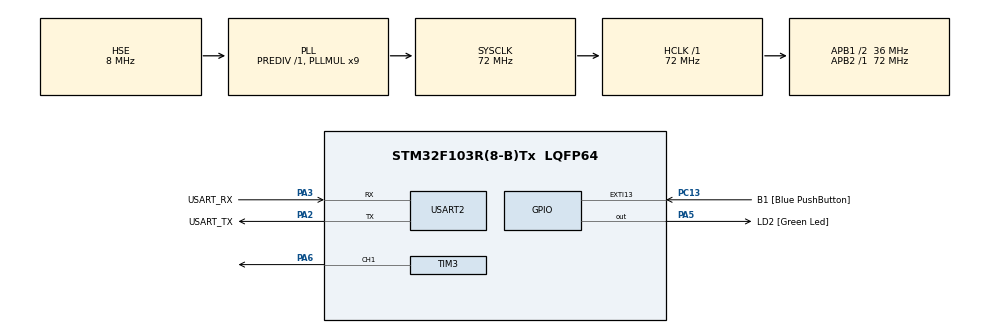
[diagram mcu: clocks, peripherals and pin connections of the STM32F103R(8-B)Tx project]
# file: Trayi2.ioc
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Dma.Request0=TIM3_CH1/TRIG
Dma.TIM3_CH1/TRIG.0.Direction=DMA_MEMORY_TO_PERIPH
Dma.TIM3_CH1/TRIG.0.Instance=DMA1_Channel6
Dma.TIM3_CH1/TRIG.0.MemDataAlignment=DMA_MDATAALIGN_BYTE
Dma.TIM3_CH1/TRIG.0.MemInc=DMA_MINC_ENABLE
Dma.TIM3_CH1/TRIG.0.Mode=DMA_NORMAL
Dma.TIM3_CH1/TRIG.0.PeriphDataAlignment=DMA_PDATAALIGN_HALFWORD
Dma.TIM3_CH1/TRIG.0.PeriphInc=DMA_PINC_DISABLE
Dma.TIM3_CH1/TRIG.0.Priority=DMA_PRIORITY_LOW
Mcu.Family=STM32F1
Mcu.Name=STM32F103R(8-B)Tx
Mcu.Package=LQFP64
NVIC.DMA1_Channel6_IRQn=true\:0\:0\:false\:false\:true\:false\:true
NVIC.EXTI15_10_IRQn=true\:0\:0\:false\:false\:true\:true\:true
NVIC.PriorityGroup=NVIC_PRIORITYGROUP_4
NVIC.TIM3_IRQn=true\:0\:0\:false\:false\:true\:true\:true
PA13.GPIO_Label=TMS
PA13.Mode=Serial_Wire
PA13.Signal=SYS_JTMS-SWDIO
PA14.GPIO_Label=TCK
PA14.Mode=Serial_Wire
PA14.Signal=SYS_JTCK-SWCLK
PA2.GPIO_Label=USART_TX
PA2.GPIO_Mode=GPIO_MODE_AF_PP
PA2.GPIO_PuPd=GPIO_NOPULL
PA2.GPIO_Speed=GPIO_SPEED_FREQ_LOW
PA2.Mode=Asynchronous
PA2.Signal=USART2_TX
PA3.GPIO_Label=USART_RX
PA3.GPIO_Mode=GPIO_MODE_AF_PP
PA3.GPIO_PuPd=GPIO_NOPULL
PA3.GPIO_Speed=GPIO_SPEED_FREQ_LOW
PA3.Mode=Asynchronous
PA3.Signal=USART2_RX
PA5.GPIO_Label=LD2 [Green Led]
PA5.GPIO_ModeDefaultOutputPP=GPIO_MODE_OUTPUT_PP
PA5.GPIO_PuPd=GPIO_NOPULL
PA5.GPIO_Speed=GPIO_SPEED_FREQ_LOW
PA5.Signal=GPIO_Output
PA6.Signal=S_TIM3_CH1
PB3.GPIO_Label=SWO
PB3.Signal=SYS_JTDO-TRACESWO
PC13-TAMPER-RTC.GPIO_Label=B1 [Blue PushButton]
PC13-TAMPER-RTC.GPIO_PuPd=GPIO_NOPULL
PC13-TAMPER-RTC.Signal=GPXTI13
PC14-OSC32_IN.Mode=LSE-External-Oscillator
PC14-OSC32_IN.Signal=RCC_OSC32_IN
PC15-OSC32_OUT.Mode=LSE-External-Oscillator
PC15-OSC32_OUT.Signal=RCC_OSC32_OUT
PD0-OSC_IN.Mode=HSE-External-Clock-Source
PD0-OSC_IN.Signal=RCC_OSC_IN
PD1-OSC_OUT.Mode=HSE-External-Clock-Source
PD1-OSC_OUT.Signal=RCC_OSC_OUT
ProjectManager.HeapSize=0x200
ProjectManager.StackSize=0x400
ProjectManager.TargetToolchain=STM32CubeIDE
RCC.AHBFreq_Value=72000000
RCC.APB1CLKDivider=RCC_HCLK_DIV2
RCC.APB1Freq_Value=36000000
RCC.APB1TimFreq_Value=72000000
RCC.APB2Freq_Value=72000000
RCC.APB2TimFreq_Value=72000000
RCC.HCLKFreq_Value=72000000
RCC.PLLMUL=RCC_PLL_MUL9
RCC.PLLSourceVirtual=RCC_PLLSOURCE_HSE
RCC.RTCClockSelection=RCC_RTCCLKSOURCE_LSE
RCC.SYSCLKFreq_VALUE=72000000
RCC.SYSCLKSource=RCC_SYSCLKSOURCE_PLLCLK
RCC.USBFreq_Value=72000000
SH.S_TIM3_CH1.0=TIM3_CH1,PWM Generation1 CH1
TIM3.Channel-PWM\ Generation1\ CH1=TIM_CHANNEL_1
TIM3.OCFastMode_PWM-PWM\ Generation1\ CH1=TIM_OCFAST_DISABLE
TIM3.OCMode_PWM-PWM\ Generation1\ CH1=TIM_OCMODE_PWM1
TIM3.Period=90-1
USART2.VirtualMode=VM_ASYNC
board=NUCLEO-F103RB

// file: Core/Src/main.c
/* USER CODE BEGIN Header */
/**
 ******************************************************************************
 * @file           : main.c
 * @brief          : Main program body
 ******************************************************************************
 * @attention
 *
 * Copyright (c) 2022 STMicroelectronics.
 * All rights reserved.
 *
 * This software is licensed under terms that can be found in the LICENSE file
 * in the root directory of this software component.
 * If no LICENSE file comes with this software, it is provided AS-IS.
 *
 ******************************************************************************
 */
/* USER CODE END Header */
#include "main.h"

/* USER CODE BEGIN Includes */
#include <math.h>
/* USER CODE END Includes */

/* USER CODE BEGIN PM */
#define MAX_LED     16

#define MAX_COLOR   255
#define MIN_COLOR   10

#define MAX_BRIGHTNESS 45
#define MIN_BRIGHTNESS 5

#define USE_BRIGHTNESS 1
/* USER CODE END PM */

TIM_HandleTypeDef htim3;
DMA_HandleTypeDef hdma_tim3_ch1_trig;

UART_HandleTypeDef huart2;

/* USER CODE BEGIN PV */
uint8_t LED_Data[MAX_LED][4];
uint8_t LED_Mod[MAX_LED][4];
uint8_t LED_Is_Brightness[MAX_LED];

uint8_t LED_PWM_Data[MAX_LED * 24 + 40];
uint8_t LED_sending;

enum MODES {
	STATIC = 0, DRAGON_BREATH, RAINBOW,
};
/* USER CODE END PV */

void SystemClock_Config(void);
static void MX_GPIO_Init(void);
static void MX_USART2_UART_Init(void);
static void MX_DMA_Init(void);
static void MX_TIM3_Init(void);

/* USER CODE BEGIN 0 */

typedef struct {
	uint8_t red;
	uint8_t green;
	uint8_t blue;
} Color;

void HAL_TIM_PWM_PulseFinishedCallback(TIM_HandleTypeDef *htim) {
	HAL_TIM_PWM_Stop_DMA(&htim3, TIM_CHANNEL_1);
	LED_sending = 0;
}

void LED_set(uint32_t LED_number, Color *color) {
	LED_Is_Brightness[LED_number] = 0;
	LED_Data[LED_number][0] = LED_number;
	LED_Data[LED_number][1] = color->green;
	LED_Data[LED_number][2] = color->red;
	LED_Data[LED_number][3] = color->blue;
}

void LED_set_brightness(uint32_t LED_number, uint8_t brightness) {
	if (brightness > 45) {
		brightness = 45;
	}

	if (LED_number < 0 || LED_number >= MAX_LED) {
		return;
	}

	LED_Is_Brightness[LED_number] = 1;
	LED_Mod[LED_number][0] = LED_Data[LED_number][0];
	for (int j = 1; j < 4; j++) {
		float angle = 90 - brightness;
		angle = angle * M_PI / 180;
		LED_Mod[LED_number][j] = (LED_Data[LED_number][j]) / (tan(angle));
	}
}

void LED_send(void) {
	while (LED_sending)
		;

	LED_sending = 1;
	memset(LED_PWM_Data, 0, 24 * MAX_LED + 40);

	uint32_t idx = 0;

	for (int i = 0; i < MAX_LED; ++i) {
		uint32_t color;
		if (LED_Is_Brightness[i]) {
			color = ((LED_Mod[i][1] << 16) | (LED_Mod[i][2] << 8)
					| (LED_Mod[i][3]));
		} else {
			color = ((LED_Data[i][1] << 16) | (LED_Data[i][2] << 8)
					| (LED_Data[i][3]));
		}

		for (int j = 23; j >= 0; --j) {
			if (color & (1 << j)) {
				LED_PWM_Data[idx] = 0.66 * TIM3->ARR;
			} else {
				LED_PWM_Data[idx] = 0.33 * TIM3->ARR;
				;
			}
			idx++;
		}
	}

	HAL_TIM_PWM_Start_DMA(&htim3, TIM_CHANNEL_1, (uint32_t*) LED_PWM_Data,
			24 * MAX_LED + 40);
}

/*
 * Static mode
 */
void static_mode(Color *color) {
	for (uint32_t i = 0; i < MAX_LED; ++i) {
		LED_set(i, color);
	}
	LED_send();
}

/*
 * Dragon breath mode
 */
void dragon_breath_mode(Color *color) {
	for (uint32_t i = 0; i < MAX_LED; ++i) {
		LED_set(i, color);
	}

	for (int8_t i = MIN_BRIGHTNESS; i <= MAX_BRIGHTNESS; ++i) {
		for (uint32_t j = 0; j < MAX_LED; ++j) {
			LED_set_brightness(j, i);
		}
		LED_send();
		HAL_Delay(20);
	}

	for (int8_t i = MAX_BRIGHTNESS; i >= MIN_BRIGHTNESS; --i) {
		for (uint32_t j = 0; j < MAX_LED; ++j) {
			LED_set_brightness(j, i);
		}
		LED_send();
		HAL_Delay(20);
	}
}

/*
 * Rainbow mode
 */
void rainbow_mode() {

}

void set_mode_cycle(uint8_t mode, Color *color) {
	switch (mode) {
	case STATIC:
		static_mode(color);
		break;
	case DRAGON_BREATH:
		dragon_breath_mode(color);
		break;
	case RAINBOW:
		rainbow_mode();
		break;
	}
}

/* USER CODE END 0 */

int main(void) {

	/* MCU Configuration--------------------------------------------------------*/

	/* Reset of all peripherals, Initializes the Flash interface and the Systick. */
	HAL_Init();

	/* Configure the system clock */
	SystemClock_Config();

	/* Initialize all configured peripherals */
	MX_GPIO_Init();
	MX_USART2_UART_Init();
	MX_DMA_Init();
	MX_TIM3_Init();
	/* USER CODE BEGIN 2 */

	Color c = { 255, 0, 255 };
	Color *c_p = &c;

	for (uint32_t i = 0; i < MAX_LED; ++i) {
		LED_Is_Brightness[i] = 0;
	}

	/* USER CODE END 2 */

	/* Infinite loop */
	/* USER CODE BEGIN WHILE */
	while (1) {
//		LED_set(0, 0, 0, 255);
//		LED_set(1, 0, 255, 0);
//		LED_set(2, 255, 0, 0);
//		LED_set(3, 75, 0, 130);
//		LED_set(4, 75, 0, 130);
//		LED_set(5, 0, 0, 128);
//		LED_set(6, 0, 139, 139);
//		LED_set(7, 238, 130, 238);
//		LED_set(8, 0, 0, 128);
//		LED_set(9, 0, 139, 139);
//		LED_set(10, 0, 255, 0);
//		LED_set(11, 210, 105, 30);
//		LED_set(12, 102, 205, 170);
//		LED_set(13, 255, 165, 255);
//		LED_set(14, 255, 165, 0);
//		LED_set(15, 210, 105, 30);

		set_mode_cycle(DRAGON_BREATH, c_p);
//		set_mode_cycle(STATIC, c_p);

//		for (int i = 0; i < 46; i++) {
//			LED_set_brightness(0, i);
//			LED_send();
//			WS2812_Send();
//			HAL_Delay(10);
//		}
//
//		for (int i = 45; i >= 0; i--) {
//			LED_set_brightness(0, i);
//			LED_send();
//			WS2812_Send();
//			HAL_Delay(10);
//		}
//		LED_send();
		/* USER CODE END WHILE */

	}
}

void SystemClock_Config(void) {
	RCC_OscInitTypeDef RCC_OscInitStruct = { 0 };
	RCC_ClkInitTypeDef RCC_ClkInitStruct = { 0 };

	/** Initializes the RCC Oscillators according to the specified parameters
	 * in the RCC_OscInitTypeDef structure.
	 */
	RCC_OscInitStruct.OscillatorType = RCC_OSCILLATORTYPE_HSE;
	RCC_OscInitStruct.HSEState = RCC_HSE_BYPASS;
	RCC_OscInitStruct.HSEPredivValue = RCC_HSE_PREDIV_DIV1;
	RCC_OscInitStruct.HSIState = RCC_HSI_ON;
	RCC_OscInitStruct.PLL.PLLState = RCC_PLL_ON;
	RCC_OscInitStruct.PLL.PLLSource = RCC_PLLSOURCE_HSE;
	RCC_OscInitStruct.PLL.PLLMUL = RCC_PLL_MUL9;
	if (HAL_RCC_OscConfig(&RCC_OscInitStruct) != HAL_OK) {
		Error_Handler();
	}
	/** Initializes the CPU, AHB and APB buses clocks
	 */
	RCC_ClkInitStruct.ClockType = RCC_CLOCKTYPE_HCLK | RCC_CLOCKTYPE_SYSCLK
			| RCC_CLOCKTYPE_PCLK1 | RCC_CLOCKTYPE_PCLK2;
	RCC_ClkInitStruct.SYSCLKSource = RCC_SYSCLKSOURCE_PLLCLK;
	RCC_ClkInitStruct.AHBCLKDivider = RCC_SYSCLK_DIV1;
	RCC_ClkInitStruct.APB1CLKDivider = RCC_HCLK_DIV2;
	RCC_ClkInitStruct.APB2CLKDivider = RCC_HCLK_DIV1;

	if (HAL_RCC_ClockConfig(&RCC_ClkInitStruct, FLASH_LATENCY_2) != HAL_OK) {
		Error_Handler();
	}
}

static void MX_TIM3_Init(void) {

	TIM_MasterConfigTypeDef sMasterConfig = { 0 };
	TIM_OC_InitTypeDef sConfigOC = { 0 };

	htim3.Instance = TIM3;
	htim3.Init.Prescaler = 0;
	htim3.Init.CounterMode = TIM_COUNTERMODE_UP;
	htim3.Init.Period = 90 - 1;
	htim3.Init.ClockDivision = TIM_CLOCKDIVISION_DIV1;
	htim3.Init.AutoReloadPreload = TIM_AUTORELOAD_PRELOAD_DISABLE;
	if (HAL_TIM_PWM_Init(&htim3) != HAL_OK) {
		Error_Handler();
	}
	sMasterConfig.MasterOutputTrigger = TIM_TRGO_RESET;
	sMasterConfig.MasterSlaveMode = TIM_MASTERSLAVEMODE_DISABLE;
	if (HAL_TIMEx_MasterConfigSynchronization(&htim3, &sMasterConfig)
			!= HAL_OK) {
		Error_Handler();
	}
	sConfigOC.OCMode = TIM_OCMODE_PWM1;
	sConfigOC.Pulse = 0;
	sConfigOC.OCPolarity = TIM_OCPOLARITY_HIGH;
	sConfigOC.OCFastMode = TIM_OCFAST_DISABLE;
	if (HAL_TIM_PWM_ConfigChannel(&htim3, &sConfigOC, TIM_CHANNEL_1)
			!= HAL_OK) {
		Error_Handler();
	}
	HAL_TIM_MspPostInit(&htim3);

}

static void MX_USART2_UART_Init(void) {

	huart2.Instance = USART2;
	huart2.Init.BaudRate = 115200;
	huart2.Init.WordLength = UART_WORDLENGTH_8B;
	huart2.Init.StopBits = UART_STOPBITS_1;
	huart2.Init.Parity = UART_PARITY_NONE;
	huart2.Init.Mode = UART_MODE_TX_RX;
	huart2.Init.HwFlowCtl = UART_HWCONTROL_NONE;
	huart2.Init.OverSampling = UART_OVERSAMPLING_16;
	if (HAL_UART_Init(&huart2) != HAL_OK) {
		Error_Handler();
	}

}

static void MX_DMA_Init(void) {

	/* DMA controller clock enable */
	__HAL_RCC_DMA1_CLK_ENABLE();

	/* DMA interrupt init */
	/* DMA1_Channel6_IRQn interrupt configuration */
	HAL_NVIC_SetPriority(DMA1_Channel6_IRQn, 0, 0);
	HAL_NVIC_EnableIRQ(DMA1_Channel6_IRQn);

}

static void MX_GPIO_Init(void) {
	GPIO_InitTypeDef GPIO_InitStruct = { 0 };

	/* GPIO Ports Clock Enable */
	__HAL_RCC_GPIOC_CLK_ENABLE();
	__HAL_RCC_GPIOD_CLK_ENABLE();
	__HAL_RCC_GPIOA_CLK_ENABLE();
	__HAL_RCC_GPIOB_CLK_ENABLE();

	/*Configure GPIO pin Output Level */
	HAL_GPIO_WritePin(LD2_GPIO_Port, LD2_Pin, GPIO_PIN_RESET);

	/*Configure GPIO pin : B1_Pin */
	GPIO_InitStruct.Pin = B1_Pin;
	GPIO_InitStruct.Mode = GPIO_MODE_IT_RISING;
	GPIO_InitStruct.Pull = GPIO_NOPULL;
	HAL_GPIO_Init(B1_GPIO_Port, &GPIO_InitStruct);

	/*Configure GPIO pin : LD2_Pin */
	GPIO_InitStruct.Pin = LD2_Pin;
	GPIO_InitStruct.Mode = GPIO_MODE_OUTPUT_PP;
	GPIO_InitStruct.Pull = GPIO_NOPULL;
	GPIO_InitStruct.Speed = GPIO_SPEED_FREQ_LOW;
	HAL_GPIO_Init(LD2_GPIO_Port, &GPIO_InitStruct);

	/* EXTI interrupt init*/
	HAL_NVIC_SetPriority(EXTI15_10_IRQn, 0, 0);
	HAL_NVIC_EnableIRQ(EXTI15_10_IRQn);

}

void Error_Handler(void) {
	__disable_irq();
	while (1) {
	}
}
